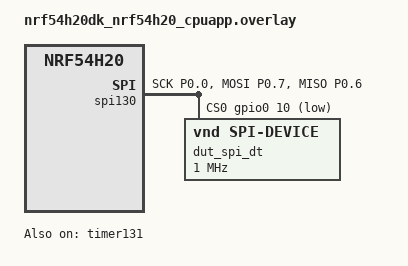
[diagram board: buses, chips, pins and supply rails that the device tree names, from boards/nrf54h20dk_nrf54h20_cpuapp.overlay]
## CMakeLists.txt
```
#
# Copyright (c) 2025 Nordic Semiconductor ASA
#
# SPDX-License-Identifier: LicenseRef-Nordic-5-Clause
#

cmake_minimum_required(VERSION 3.20.0)

find_package(Zephyr REQUIRED HINTS $ENV{ZEPHYR_BASE})

project(spim_pan)

target_sources(app PRIVATE src/main.c)
```

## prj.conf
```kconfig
CONFIG_SPI=y

CONFIG_ZTEST=y

CONFIG_NRFX_TIMER=y
CONFIG_NRFX_GPPI=y
```

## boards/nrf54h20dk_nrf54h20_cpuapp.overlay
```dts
/*
 * Copyright (c) 2025 Nordic Semiconductor ASA
 *
 * SPDX-License-Identifier: LicenseRef-Nordic-5-Clause
 */

/* Required loopbacks:
 * P0.07 <-> P0.06
 */

&pinctrl {
	dut_spi_default: dut_spi_default {
		group1 {
			psels = <NRF_PSEL(SPIM_SCK, 0, 0)>,
				<NRF_PSEL(SPIM_MOSI, 0, 7)>,
				<NRF_PSEL(SPIM_MISO, 0, 6)>;
		};
	};

	dut_spi_sleep: dut_spi_sleep {
		group1 {
			psels = <NRF_PSEL(SPIM_SCK, 0, 0)>,
				<NRF_PSEL(SPIM_MISO, 0, 6)>,
				<NRF_PSEL(SPIM_MOSI, 0, 7)>;
			low-power-enable;
		};
	};
};

dut_spi: &spi130 {
	compatible = "nordic,nrf-spim";
	status = "okay";
	pinctrl-0 = <&dut_spi_default>;
	pinctrl-1 = <&dut_spi_sleep>;
	pinctrl-names = "default", "sleep";
	overrun-character = <0x00>;
	memory-regions = <&cpuapp_dma_region>;
	cs-gpios = <&gpio0 10 GPIO_ACTIVE_LOW>;
	zephyr,pm-device-runtime-auto;
	rx-delay = <1>;

	dut_spi_dt: test-spi-dev@0 {
		compatible = "vnd,spi-device";
		reg = <0>;
		spi-max-frequency = <DT_FREQ_M(1)>;
	};
};

&exmif {
	status = "disabled";
};

tst_timer: &timer131 {
	status = "okay";
};
```

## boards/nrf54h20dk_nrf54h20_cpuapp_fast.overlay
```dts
/*
 * Copyright (c) 2026 Nordic Semiconductor ASA
 *
 * SPDX-License-Identifier: LicenseRef-Nordic-5-Clause
 */

/* Required loopbacks:
 * P7.06 <-> P7.07
 */
&pinctrl {
	dut_spi_default: dut_spi_default {
		group1 {
			psels = <NRF_PSEL(SPIM_MISO, 7, 6)>;
		};

		group2 {
			psels = <NRF_PSEL(SPIM_SCK, 7, 3)>,
				<NRF_PSEL(SPIM_MOSI, 7, 7)>;
			nordic,drive-mode = <NRF_DRIVE_E0E1>;
		};
	};

	dut_spi_sleep: dut_spi_sleep {
		group1 {
			psels = <NRF_PSEL(SPIM_SCK, 7, 3)>,
				<NRF_PSEL(SPIM_MISO, 7, 6)>,
				<NRF_PSEL(SPIM_MOSI, 7, 7)>;
			low-power-enable;
		};
	};
};

dut_spi: &spi120 {
	compatible = "nordic,nrf-spim";
	status = "okay";
	pinctrl-0 = <&dut_spi_default>;
	pinctrl-1 = <&dut_spi_sleep>;
	pinctrl-names = "default", "sleep";
	overrun-character = <0x00>;
	memory-regions = <&dma_fast_region>;
	cs-gpios = <&gpio0 10 GPIO_ACTIVE_LOW>;
	zephyr,pm-device-runtime-auto;
	rx-delay = <1>;

	dut_spi_dt: test-spi-dev@0 {
		compatible = "vnd,spi-device";
		reg = <0>;
		spi-max-frequency = <DT_FREQ_M(16)>;
	};
};

&exmif {
	status = "disabled";
};

tst_timer: &timer131 {
	status = "okay";
};

&dma_fast_region {
	status = "okay";
};
```

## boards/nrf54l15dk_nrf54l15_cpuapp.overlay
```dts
/*
 * Copyright (c) 2025 Nordic Semiconductor ASA
 *
 * SPDX-License-Identifier: LicenseRef-Nordic-5-Clause
 */

/* Required loopbacks:
 * P1.10 <-> P1.11
 */

&pinctrl {
	dut_spi_default: dut_spi_default {
		group1 {
			psels = <NRF_PSEL(SPIM_SCK, 1, 8)>,
				<NRF_PSEL(SPIM_MISO, 1, 10)>,
				<NRF_PSEL(SPIM_MOSI, 1, 11)>;
		};
	};

	dut_spi_sleep: dut_spi_sleep {
		group1 {
			psels = <NRF_PSEL(SPIM_SCK, 1, 8)>,
				<NRF_PSEL(SPIM_MISO, 1, 10)>,
				<NRF_PSEL(SPIM_MOSI, 1, 11)>;
			low-power-enable;
		};
	};
};

dut_spi: &spi21 {
	compatible = "nordic,nrf-spim";
	status = "okay";
	pinctrl-0 = <&dut_spi_default>;
	pinctrl-1 = <&dut_spi_sleep>;
	pinctrl-names = "default", "sleep";
	overrun-character = <0x00>;
	zephyr,pm-device-runtime-auto;
	cs-gpios = <&gpio1 12 GPIO_ACTIVE_LOW>;
	rx-delay = <1>;

	dut_spi_dt: test-spi-dev@0 {
		compatible = "vnd,spi-device";
		reg = <0>;
		spi-max-frequency = <DT_FREQ_M(1)>;
	};
};

&gpio1 {
	status = "okay";
};

tst_timer: &timer20 {
	status = "okay";
};

&dppic20 {
	status = "okay";
};
```

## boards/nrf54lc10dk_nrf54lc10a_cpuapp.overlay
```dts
/*
 * Copyright (c) 2026 Nordic Semiconductor ASA
 *
 * SPDX-License-Identifier: LicenseRef-Nordic-5-Clause
 */

/* Required loopbacks:
 * P1.00 <-> P1.01
 * (CS on P1.12 to avoid DK button on P1.08.)
 */

&pinctrl {
	dut_spi_default: dut_spi_default {
		group1 {
			psels = <NRF_PSEL(SPIM_SCK, 1, 2)>,
				<NRF_PSEL(SPIM_MISO, 1, 0)>,
				<NRF_PSEL(SPIM_MOSI, 1, 1)>;
		};
	};

	dut_spi_sleep: dut_spi_sleep {
		group1 {
			psels = <NRF_PSEL(SPIM_SCK, 1, 2)>,
				<NRF_PSEL(SPIM_MISO, 1, 0)>,
				<NRF_PSEL(SPIM_MOSI, 1, 1)>;
			low-power-enable;
		};
	};
};

dut_spi: &spi21 {
	compatible = "nordic,nrf-spim";
	status = "okay";
	pinctrl-0 = <&dut_spi_default>;
	pinctrl-1 = <&dut_spi_sleep>;
	pinctrl-names = "default", "sleep";
	overrun-character = <0x00>;
	zephyr,pm-device-runtime-auto;
	cs-gpios = <&gpio1 12 GPIO_ACTIVE_LOW>;
	rx-delay = <1>;

	dut_spi_dt: test-spi-dev@0 {
		compatible = "vnd,spi-device";
		reg = <0>;
		spi-max-frequency = <DT_FREQ_M(1)>;
	};
};

&gpio1 {
	status = "okay";
};

tst_timer: &timer20 {
	status = "okay";
};

&dppic20 {
	status = "okay";
};
```

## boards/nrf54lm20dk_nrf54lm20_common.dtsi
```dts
/*
 * Copyright (c) 2026 Nordic Semiconductor ASA
 *
 * SPDX-License-Identifier: LicenseRef-Nordic-5-Clause
 */

/* Required loopbacks:
 * P1.13 <-> P1.14
 */

&pinctrl {
	dut_spi_default: dut_spi_default {
		group1 {
			psels = <NRF_PSEL(SPIM_SCK, 1, 12)>,
				<NRF_PSEL(SPIM_MISO, 1, 13)>,
				<NRF_PSEL(SPIM_MOSI, 1, 14)>;
		};
	};

	dut_spi_sleep: dut_spi_sleep {
		group1 {
			psels = <NRF_PSEL(SPIM_SCK, 1, 12)>,
				<NRF_PSEL(SPIM_MISO, 1, 13)>,
				<NRF_PSEL(SPIM_MOSI, 1, 14)>;
			low-power-enable;
		};
	};
};

dut_spi: &spi21 {
	compatible = "nordic,nrf-spim";
	status = "okay";
	pinctrl-0 = <&dut_spi_default>;
	pinctrl-1 = <&dut_spi_sleep>;
	pinctrl-names = "default", "sleep";
	overrun-character = <0x00>;
	zephyr,pm-device-runtime-auto;
	cs-gpios = <&gpio1 11 GPIO_ACTIVE_LOW>;
	rx-delay = <1>;

	dut_spi_dt: test-spi-dev@0 {
		compatible = "vnd,spi-device";
		reg = <0>;
		spi-max-frequency = <DT_FREQ_M(1)>;
	};
};

&gpio1 {
	status = "okay";
};

tst_timer: &timer20 {
	status = "okay";
};

&dppic20 {
	status = "okay";
};
```

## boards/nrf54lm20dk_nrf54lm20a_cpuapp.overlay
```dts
/*
 * Copyright (c) 2025 Nordic Semiconductor ASA
 *
 * SPDX-License-Identifier: LicenseRef-Nordic-5-Clause
 */

/* Required loopbacks:
 * P1.13 <-> P1.14
 */

&pinctrl {
	dut_spi_default: dut_spi_default {
		group1 {
			psels = <NRF_PSEL(SPIM_SCK, 1, 12)>,
				<NRF_PSEL(SPIM_MISO, 1, 13)>,
				<NRF_PSEL(SPIM_MOSI, 1, 14)>;
		};
	};

	dut_spi_sleep: dut_spi_sleep {
		group1 {
			psels = <NRF_PSEL(SPIM_SCK, 1, 12)>,
				<NRF_PSEL(SPIM_MISO, 1, 13)>,
				<NRF_PSEL(SPIM_MOSI, 1, 14)>;
			low-power-enable;
		};
	};
};

dut_spi: &spi21 {
	compatible = "nordic,nrf-spim";
	status = "okay";
	pinctrl-0 = <&dut_spi_default>;
	pinctrl-1 = <&dut_spi_sleep>;
	pinctrl-names = "default", "sleep";
	overrun-character = <0x00>;
	zephyr,pm-device-runtime-auto;
	cs-gpios = <&gpio1 11 GPIO_ACTIVE_LOW>;
	rx-delay = <1>;

	dut_spi_dt: test-spi-dev@0 {
		compatible = "vnd,spi-device";
		reg = <0>;
		spi-max-frequency = <DT_FREQ_M(1)>;
	};
};

&gpio1 {
	status = "okay";
};

tst_timer: &timer20 {
	status = "okay";
};

&dppic20 {
	status = "okay";
};
```

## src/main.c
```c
/*
 * Copyright (c) 2025 Nordic Semiconductor ASA
 *
 * SPDX-License-Identifier: LicenseRef-Nordic-5-Clause
 */

#include <zephyr/kernel.h>
#include <zephyr/ztest.h>
#include <zephyr/drivers/spi.h>
#include <nrfx_spim.h>
#include <nrfx_timer.h>
#include <dmm.h>

#include <zephyr/drivers/counter.h>
#include <helpers/nrfx_gppi.h>

/* SPI MODE 0 */
#define SPI_MODE (SPI_OP_MODE_CONTROLLER | SPI_WORD_SET(8) | SPI_LINES_SINGLE | SPI_TRANSFER_MSB)

#if DT_NODE_EXISTS(DT_NODELABEL(dut_spi_fast))
#define DUT_SPI_NODE	    DT_NODELABEL(dut_spi_fast)
#define DUT_SPI_FAST		1
#define TEST_BUFFER_SIZE    4
#define MX25R64_RDID	    0x9F
#define MX25R64_MFG_ID	    0xC2
#define MX25R64_MEM_TYPE    0x28
#define MX25R64_MEM_DENSITY 0x17
#define MAX_READ_REPEATS    10
#else
#define DUT_SPI_NODE	 DT_NODELABEL(dut_spi)
#define TEST_BUFFER_SIZE 64
#endif

static struct spi_dt_spec spim_spec = SPI_DT_SPEC_GET(DT_NODELABEL(dut_spi_dt), SPI_MODE);
NRF_SPIM_Type *spim_reg = (NRF_SPIM_Type *)DT_REG_ADDR(DUT_SPI_NODE);

static nrfx_timer_t test_timer = NRFX_TIMER_INSTANCE(DT_REG_ADDR(DT_NODELABEL(tst_timer)));
static uint8_t tx_buffer[TEST_BUFFER_SIZE] DMM_MEMORY_SECTION(DT_BUS(DT_NODELABEL(dut_spi_dt)));
static uint8_t rx_buffer[TEST_BUFFER_SIZE] DMM_MEMORY_SECTION(DT_BUS(DT_NODELABEL(dut_spi_dt)));

static void *test_setup(void)
{
	zassert_true(spi_is_ready_dt(&spim_spec), "SPIM device is not ready");

	return NULL;
}

static void set_buffers(void)
{
	memset(tx_buffer, 0x8B, TEST_BUFFER_SIZE);
	memset(rx_buffer, 0xFF, TEST_BUFFER_SIZE);
}

static uint32_t configure_test_timer(nrfx_timer_t *timer)
{
	uint32_t base_frequency = NRF_TIMER_BASE_FREQUENCY_GET(timer->p_reg);
	nrfx_timer_config_t timer_config = NRFX_TIMER_DEFAULT_CONFIG(base_frequency);

	timer_config.bit_width = NRF_TIMER_BIT_WIDTH_16;
	timer_config.mode = NRF_TIMER_MODE_COUNTER;

	TC_PRINT("Timer base frequency: %d Hz\n", base_frequency);

	zassert_ok(nrfx_timer_init(timer, &timer_config, NULL), "Timer init failed\n");
	nrfx_timer_enable(timer);

	return nrfx_timer_task_address_get(timer, NRF_TIMER_TASK_COUNT);
}

/*
 * Reference: MLTPAN-8
 * Requirements to trigger the PAN workaround
 * CPHA = 0 (configured in SPI_MODE)
 * PRESCALER > 2 (4 for 4MHz, 16 for 1MHz)
 * First transmitted bit is 1 (0x8B, MSB)
 */

ZTEST(spim_pan, test_spim_mltpan_8_workaround)
{
	Z_TEST_SKIP_IFDEF(DUT_SPI_FAST);
	Z_TEST_SKIP_IFDEF(CONFIG_SOC_NRF54H20);

	int err;

	struct spi_buf tx_spi_buf = {.buf = tx_buffer, .len = TEST_BUFFER_SIZE};
	struct spi_buf_set tx_spi_buf_set = {.buffers = &tx_spi_buf, .count = 1};

	struct spi_buf rx_spi_buf = {.buf = rx_buffer, .len = TEST_BUFFER_SIZE};
	struct spi_buf_set rx_spi_buf_set = {.buffers = &rx_spi_buf, .count = 1};

	set_buffers();

	err = spi_transceive_dt(&spim_spec, &tx_spi_buf_set, &rx_spi_buf_set);
	TC_PRINT("SPIM prescaler: %u\n", spim_reg->PRESCALER);
	zassert_true(spim_reg->PRESCALER > 2, "SPIM prescaler is not greater than 2\n");
	zassert_ok(err, "SPI transceive failed: %d\n", err);

	zassert_mem_equal(tx_buffer, rx_buffer, TEST_BUFFER_SIZE, "TX buffer != RX buffer\n");
}

/*
 * Reference: MLTPAN-55
 * Requirements to trigger the PAN workaround
 * MODE 0 or MODE 2 (CPHA = 0)
 * PRESCALER = 4 (4 MHz) for SPIM2x and SPIM3x
 * RX.MAXCNT lower than TX.MAXCNT
 */

ZTEST(spim_pan, test_spim_mltpan_55_workaround)
{
	Z_TEST_SKIP_IFDEF(DUT_SPI_FAST);
	Z_TEST_SKIP_IFDEF(CONFIG_SOC_NRF54H20);

	int err;

	nrfx_gppi_handle_t gppi_handle;

	uint32_t timer_cc_before, timer_cc_after;

	uint32_t timer_task;
	uint32_t spim_event;

	struct spi_buf tx_spi_buf = {.buf = tx_buffer, .len = TEST_BUFFER_SIZE};
	struct spi_buf_set tx_spi_buf_set = {.buffers = &tx_spi_buf, .count = 1};

	struct spi_buf rx_spi_buf = {.buf = rx_buffer, .len = TEST_BUFFER_SIZE - 1};
	struct spi_buf_set rx_spi_buf_set = {.buffers = &rx_spi_buf, .count = 1};

	set_buffers();

	timer_task = configure_test_timer(&test_timer);
	spim_event = nrf_spim_event_address_get(spim_reg, NRF_SPIM_EVENT_END);

	zassert_ok(nrfx_gppi_conn_alloc(spim_event, timer_task, &gppi_handle),
		   "Failed to allocate DPPI connection\n");
	nrfx_gppi_conn_enable(gppi_handle);

	timer_cc_before = nrfx_timer_capture(&test_timer, NRF_TIMER_CC_CHANNEL0);
	err = spi_transceive_dt(&spim_spec, &tx_spi_buf_set, &rx_spi_buf_set);
	zassert_ok(err, "SPI transceive failed: %d\n", err);
	timer_cc_after = nrfx_timer_capture(&test_timer, NRF_TIMER_CC_CHANNEL0);

	nrfx_timer_uninit(&test_timer);
	nrfx_gppi_conn_disable(gppi_handle);
	nrfx_gppi_conn_free(spim_event, timer_task, gppi_handle);

	zassert_true((timer_cc_after - timer_cc_before) > 0,
		     "NRF_SPIM_EVENT_END did not trigger\n");
	zassert_mem_equal(tx_buffer, rx_buffer, TEST_BUFFER_SIZE - 1, "TX buffer != RX buffer\n");
}

/*
 * Reference: MLTPAN-57
 * SPIM00 does not operate as expected
 * SPIM00 is the fast SPIM instance
 * Requires workaround
 */

ZTEST(spim_pan, test_spim_mltpan_57_workaround)
{
	Z_TEST_SKIP_IFDEF(CONFIG_COVERAGE);
	Z_TEST_SKIP_IFNDEF(DUT_SPI_FAST);
	Z_TEST_SKIP_IFDEF(CONFIG_SOC_NRF54H20);
#if defined(DUT_SPI_FAST)
	int err;

	nrfx_gppi_handle_t gppi_handle;

	uint32_t timer_cc_before, timer_cc_after, tx_amount;

	uint32_t timer_task;
	uint32_t spim_event;

	memset(tx_buffer, 0xFF, TEST_BUFFER_SIZE);
	tx_buffer[0] = MX25R64_RDID;

	timer_task = configure_test_timer(&test_timer);
	spim_event = nrf_spim_event_address_get(spim_reg, NRF_SPIM_EVENT_END);

	zassert_ok(nrfx_gppi_conn_alloc(spim_event, timer_task, &gppi_handle),
		   "Failed to allocate DPPI connection\n");
	nrfx_gppi_conn_enable(gppi_handle);

	struct spi_buf tx_spi_buf = {.buf = tx_buffer, .len = TEST_BUFFER_SIZE};
	struct spi_buf_set tx_spi_buf_set = {.buffers = &tx_spi_buf, .count = 1};

	struct spi_buf rx_spi_buf = {.buf = rx_buffer, .len = TEST_BUFFER_SIZE};
	struct spi_buf_set rx_spi_buf_set = {.buffers = &rx_spi_buf, .count = 1};

	for (int i = 0; i < MAX_READ_REPEATS; i++) {
		TC_PRINT("RDID attempt %u\n", i + 1);

		timer_cc_before = nrfx_timer_capture(&test_timer, NRF_TIMER_CC_CHANNEL0);
		err = spi_transceive_dt(&spim_spec, &tx_spi_buf_set, &rx_spi_buf_set);
		timer_cc_after = nrfx_timer_capture(&test_timer, NRF_TIMER_CC_CHANNEL0);
		TC_PRINT("SPIM prescaler: %u\n", spim_reg->PRESCALER);
		zassert_ok(err, "SPI transceive failed: %d\n", err);

		tx_amount = nrf_spim_tx_amount_get(spim_reg);
		TC_PRINT("NRF_SPIM_EVENT_END events count: %u\n", timer_cc_after - timer_cc_before);

		zassert_true((timer_cc_after - timer_cc_before > 0),
			     "NRF_SPIM_EVENT_END event has not been generated\n");

		for (int i = 0; i < ARRAY_SIZE(rx_buffer); i++) {
			TC_PRINT("rx_buffer[%d] = 0x%x\n", i, rx_buffer[i]);
		}

		/* First RX byte is dummy */
		zassert_equal(rx_buffer[1], MX25R64_MFG_ID,
			      "Read MX25R64 device ID is different than expected\n");
		zassert_equal(rx_buffer[2], MX25R64_MEM_TYPE,
			      "Read MX25R64 memory type is different than expected\n");
		zassert_equal(rx_buffer[3], MX25R64_MEM_DENSITY,
			      "Read MX25R64 memory density is different than expected\n");
	}

	nrfx_timer_uninit(&test_timer);
	nrfx_gppi_conn_disable(gppi_handle);
	nrfx_gppi_conn_free(spim_event, timer_task, gppi_handle);
#endif
}

/*
 * Reference: MLTPAN-69
 * Requirements to trigger the PAN workaround
 * SPIM is configured using IFTIMING.RXDELAY > 0
 * STOP task is triggered after
 * the TX data have been transferred
 * but before the final RX byte has been received
 */

ZTEST(spim_pan, test_spim_mltpan_69_workaround)
{
	Z_TEST_SKIP_IFDEF(DUT_SPI_FAST);
	Z_TEST_SKIP_IFDEF(CONFIG_SOC_NRF54H20);

	int err;

	nrfx_gppi_handle_t gppi_handle;

	uint32_t timer_cc_before, timer_cc_after;

	uint32_t timer_task;
	uint32_t spim_event;

	struct spi_buf tx_spi_buf = {.buf = tx_buffer, .len = TEST_BUFFER_SIZE};
	struct spi_buf_set tx_spi_buf_set = {.buffers = &tx_spi_buf, .count = 1};

	struct spi_buf rx_spi_buf = {.buf = rx_buffer, .len = TEST_BUFFER_SIZE};
	struct spi_buf_set rx_spi_buf_set = {.buffers = &rx_spi_buf, .count = 1};

	set_buffers();

	timer_task = configure_test_timer(&test_timer);
	spim_event = nrf_spim_event_address_get(spim_reg, NRF_SPIM_EVENT_STOPPED);

	zassert_ok(nrfx_gppi_conn_alloc(spim_event, timer_task, &gppi_handle),
		   "Failed to allocate DPPI connection\n");
	nrfx_gppi_conn_enable(gppi_handle);

	timer_cc_before = nrfx_timer_capture(&test_timer, NRF_TIMER_CC_CHANNEL0);
	err = spi_transceive_dt(&spim_spec, &tx_spi_buf_set, &rx_spi_buf_set);
	timer_cc_after = nrfx_timer_capture(&test_timer, NRF_TIMER_CC_CHANNEL0);

	TC_PRINT("SPI IFTIMING.RXDELAY=%u\n", spim_reg->IFTIMING.RXDELAY);
	zassert_true(spim_reg->IFTIMING.RXDELAY > 0,
		     "SPIM  IFTIMING.RXDELAY is not greater than 0\n");
	zassert_ok(err, "SPI transceive failed: %d\n", err);

	nrfx_timer_uninit(&test_timer);
	nrfx_gppi_conn_disable(gppi_handle);
	nrfx_gppi_conn_free(spim_event, timer_task, gppi_handle);

	TC_PRINT("NRF_SPIM_EVENT_STOPPED events count: %u\n", timer_cc_after - timer_cc_before);
	zassert_true((timer_cc_after - timer_cc_before) > 0,
		     "NRF_SPIM_EVENT_STOPPED did not trigger\n");
	zassert_mem_equal(tx_buffer, rx_buffer, TEST_BUFFER_SIZE, "TX buffer != RX buffer\n");
}

/*
 * Reference: HMPAN-115
 * SPIM is configured with CPHA to 0,
 * PRESCALER is larger than 2,
 * and the first transmitted bit is 1.
 */

ZTEST(spim_pan, test_spim_hmpan_115_workaround)
{
	Z_TEST_SKIP_IFDEF(CONFIG_SOC_SERIES_NRF54L);

	int err;

	struct spi_buf tx_spi_buf = {.buf = tx_buffer, .len = TEST_BUFFER_SIZE};
	struct spi_buf_set tx_spi_buf_set = {.buffers = &tx_spi_buf, .count = 1};

	struct spi_buf rx_spi_buf = {.buf = rx_buffer, .len = TEST_BUFFER_SIZE};
	struct spi_buf_set rx_spi_buf_set = {.buffers = &rx_spi_buf, .count = 1};

	memset(tx_buffer, 0x8A, TEST_BUFFER_SIZE);
	memset(rx_buffer, 0x00, TEST_BUFFER_SIZE);

	err = spi_transceive_dt(&spim_spec, &tx_spi_buf_set, &rx_spi_buf_set);
	TC_PRINT("SPIM prescaler: %u\n", spim_reg->PRESCALER);
	zassert_true(spim_reg->PRESCALER > 2, "SPIM prescaler is not greater than 2\n");
	zassert_ok(err, "SPI transceive failed: %d\n", err);
	zassert_mem_equal(tx_buffer, rx_buffer, TEST_BUFFER_SIZE, "TX buffer != RX buffer\n");
}

ZTEST_SUITE(spim_pan, NULL, test_setup, NULL, NULL, NULL);
```
